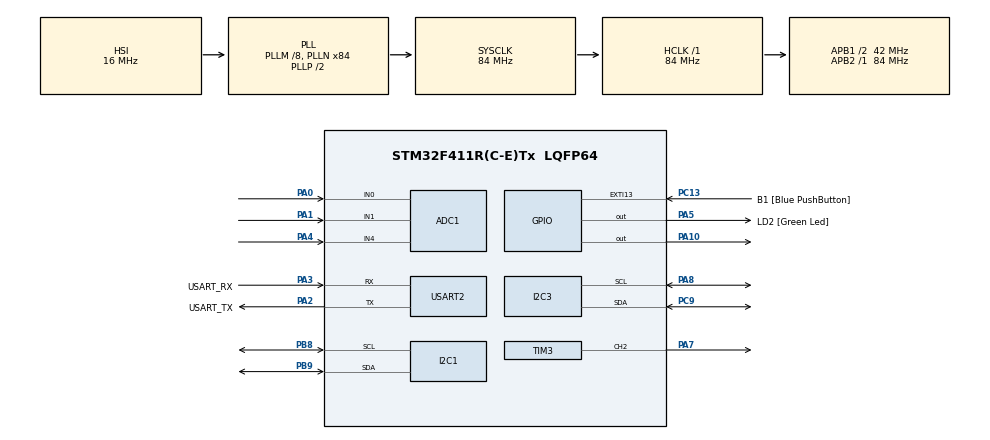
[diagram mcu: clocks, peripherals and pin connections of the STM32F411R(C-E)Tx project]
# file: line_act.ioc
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ADC1.Channel-1\#ChannelRegularConversion=ADC_CHANNEL_0
ADC1.Channel-2\#ChannelRegularConversion=ADC_CHANNEL_1
ADC1.Channel-3\#ChannelRegularConversion=ADC_CHANNEL_4
ADC1.ContinuousConvMode=ENABLE
ADC1.NbrOfConversion=3
ADC1.NbrOfConversionFlag=1
ADC1.Rank-1\#ChannelRegularConversion=1
ADC1.Rank-2\#ChannelRegularConversion=2
ADC1.Rank-3\#ChannelRegularConversion=3
ADC1.SamplingTime-1\#ChannelRegularConversion=ADC_SAMPLETIME_28CYCLES
ADC1.SamplingTime-2\#ChannelRegularConversion=ADC_SAMPLETIME_28CYCLES
ADC1.SamplingTime-3\#ChannelRegularConversion=ADC_SAMPLETIME_28CYCLES
ADC1.ScanConvMode=ENABLE
ADC1.master=1
I2C3.I2C_Mode=I2C_Fast
Mcu.Family=STM32F4
Mcu.Name=STM32F411R(C-E)Tx
Mcu.Package=LQFP64
NVIC.PriorityGroup=NVIC_PRIORITYGROUP_0
PA0-WKUP.Signal=ADCx_IN0
PA1.Signal=ADCx_IN1
PA10.Signal=GPIO_Output
PA13.GPIO_Label=TMS
PA13.Mode=Serial_Wire
PA13.Signal=SYS_JTMS-SWDIO
PA14.GPIO_Label=TCK
PA14.Mode=Serial_Wire
PA14.Signal=SYS_JTCK-SWCLK
PA2.GPIO_Label=USART_TX
PA2.Mode=Asynchronous
PA2.Signal=USART2_TX
PA3.GPIO_Label=USART_RX
PA3.Mode=Asynchronous
PA3.Signal=USART2_RX
PA4.Signal=ADCx_IN4
PA5.GPIO_Label=LD2 [Green Led]
PA5.Signal=GPIO_Output
PA7.Signal=S_TIM3_CH2
PA8.Mode=I2C
PA8.Signal=I2C3_SCL
PB3.GPIO_Label=SWO
PB3.Signal=SYS_JTDO-SWO
PB8.Mode=I2C
PB8.Signal=I2C1_SCL
PB9.Mode=I2C
PB9.Signal=I2C1_SDA
PC13-ANTI_TAMP.GPIO_Label=B1 [Blue PushButton]
PC13-ANTI_TAMP.GPIO_ModeDefaultEXTI=GPIO_MODE_IT_FALLING
PC13-ANTI_TAMP.Signal=GPXTI13
PC14-OSC32_IN.Mode=LSE-External-Oscillator
PC14-OSC32_IN.Signal=RCC_OSC32_IN
PC15-OSC32_OUT.Mode=LSE-External-Oscillator
PC15-OSC32_OUT.Signal=RCC_OSC32_OUT
PC9.Mode=I2C
PC9.Signal=I2C3_SDA
PH0\ -\ OSC_IN.Mode=HSE-External-Clock-Source
PH0\ -\ OSC_IN.Signal=RCC_OSC_IN
PH1\ -\ OSC_OUT.Mode=HSE-External-Clock-Source
PH1\ -\ OSC_OUT.Signal=RCC_OSC_OUT
ProjectManager.HeapSize=0x200
ProjectManager.StackSize=0x400
ProjectManager.TargetToolchain=STM32CubeIDE
RCC.48MHZClocksFreq_Value=42000000
RCC.AHBFreq_Value=84000000
RCC.APB1CLKDivider=RCC_HCLK_DIV2
RCC.APB1Freq_Value=42000000
RCC.APB1TimFreq_Value=84000000
RCC.APB2Freq_Value=84000000
RCC.APB2TimFreq_Value=84000000
RCC.CortexFreq_Value=84000000
RCC.FLatency-AdvancedSettings=FLASH_LATENCY_2
RCC.HCLKFreq_Value=84000000
RCC.HSE_VALUE=8000000
RCC.HSI_VALUE=16000000
RCC.PLLM=8
RCC.PLLN=84
RCC.SYSCLKFreq_VALUE=84000000
RCC.SYSCLKSource=RCC_SYSCLKSOURCE_PLLCLK
RCC.VCOOutputFreq_Value=168000000
SH.ADCx_IN0.0=ADC1_IN0,IN0
SH.ADCx_IN1.0=ADC1_IN1,IN1
SH.ADCx_IN4.0=ADC1_IN4,IN4
SH.S_TIM3_CH2.0=TIM3_CH2,PWM Generation2 CH2
TIM3.Channel-PWM\ Generation2\ CH2=TIM_CHANNEL_2
TIM3.Period=9333-1
TIM3.Prescaler=180-1
USART2.VirtualMode=VM_ASYNC
VP_TIM3_VS_ClockSourceINT.Mode=Internal
board=NUCLEO-F411RE

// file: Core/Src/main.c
/* USER CODE BEGIN Header */
/**
  ******************************************************************************
  * @file           : main.c
  * @brief          : Main program body
  ******************************************************************************
  * @attention
  *
  * Copyright (c) 2024 STMicroelectronics.
  * All rights reserved.
  *
  * This software is licensed under terms that can be found in the LICENSE file
  * in the root directory of this software component.
  * If no LICENSE file comes with this software, it is provided AS-IS.
  *
  ******************************************************************************
  */
/* USER CODE END Header */
#include "main.h"

/* USER CODE BEGIN Includes */
#include <stdlib.h>
#include <stdio.h>

#include "bno055.h"
#include "bno_config.h"

#include "fonts.h"
#include "ssd1306.h"

#include "push_pull.h"

/* USER CODE END Includes */

ADC_HandleTypeDef hadc1;

I2C_HandleTypeDef hi2c1;
I2C_HandleTypeDef hi2c3;

TIM_HandleTypeDef htim3;

UART_HandleTypeDef huart2;

/* USER CODE BEGIN PV */

bno055_t bno;
error_bno err;

float heading, heading_error;
float heading_prev_error = 0;
uint32_t new_yaw;
float heading_setpoint = 180;

float heading_difference;

float PID_p, PID_i, PID_d, PID_total;

float kp, ki, kd;

float pot_one, pot_two, pot_three;

uint32_t period = 50;

/* USER CODE END PV */

void SystemClock_Config(void);
static void MX_GPIO_Init(void);
static void MX_USART2_UART_Init(void);
static void MX_ADC1_Init(void);
static void MX_I2C1_Init(void);
static void MX_TIM3_Init(void);
static void MX_I2C3_Init(void);

/* USER CODE BEGIN 0 */

void ADC_Select_CH0 (void)
{
	ADC_ChannelConfTypeDef sConfig = {0};

	  sConfig.Channel = ADC_CHANNEL_0;
	  sConfig.Rank = 1;
	  sConfig.SamplingTime = ADC_SAMPLETIME_28CYCLES;
	  if (HAL_ADC_ConfigChannel(&hadc1, &sConfig) != HAL_OK)
	  {
	    Error_Handler();
	  }
}

void ADC_Select_CH1 (void)
{
	ADC_ChannelConfTypeDef sConfig = {0};

	  sConfig.Channel = ADC_CHANNEL_1;
	  sConfig.Rank = 1;
	  sConfig.SamplingTime = ADC_SAMPLETIME_28CYCLES;
	  if (HAL_ADC_ConfigChannel(&hadc1, &sConfig) != HAL_OK)
	  {
	    Error_Handler();
	  }
}

void ADC_Select_CH4 (void)
{
	ADC_ChannelConfTypeDef sConfig = {0};

	  sConfig.Channel = ADC_CHANNEL_4;
	  sConfig.Rank = 1;
	  sConfig.SamplingTime = ADC_SAMPLETIME_28CYCLES;
	  if (HAL_ADC_ConfigChannel(&hadc1, &sConfig) != HAL_OK)
	  {
		Error_Handler();
	  }
}

float remap_val(float value, float in_min, float in_max, float out_min, float out_max)
{
	return (value - in_min) * (out_max - out_min) / (in_max - in_min) + out_min;
}

/* USER CODE END 0 */

int main(void)
{

  /* MCU Configuration--------------------------------------------------------*/

  /* Reset of all peripherals, Initializes the Flash interface and the Systick. */
  HAL_Init();

  /* Configure the system clock */
  SystemClock_Config();

  /* Initialize all configured peripherals */
  MX_GPIO_Init();
  MX_USART2_UART_Init();
  MX_ADC1_Init();
  MX_I2C1_Init();
  MX_TIM3_Init();
  MX_I2C3_Init();
  /* USER CODE BEGIN 2 */

  HAL_TIM_PWM_Start(&htim3, TIM_CHANNEL_2);

  bno = (bno055_t)
  {
	.i2c = &hi2c1, .addr = BNO_ADDR, .mode = BNO_MODE_IMU, ._temp_unit = 0,
	// .ptr = &bno,
  };
  HAL_Delay(1000);

  if ((err = bno055_init(&bno)) == BNO_OK)
  {
  	  printf("[+] BNO055 init success\r\n");
	  HAL_Delay(100);
  }
  else
  {
	  printf("[!] BNO055 init failed\r\n");
	  printf("%s\n", bno055_err_str(err));
	  Error_Handler();
  }
	  HAL_Delay(100);
	  err = bno055_set_unit(&bno, BNO_TEMP_UNIT_C, BNO_GYR_UNIT_DPS, BNO_ACC_UNITSEL_M_S2, BNO_EUL_UNIT_DEG);
  if (err != BNO_OK)
  {
	  printf("[BNO] Failed to set units. Err: %d\r\n", err);
  }
  else
  {
	  printf("[BNO] Unit selection success\r\n");
  }

  HAL_Delay(1000);
  bno055_euler_t eul = {0, 0, 0};

  //________________________________________________________________________________________oled code____________________

  //SSD1306_Init();

//  SSD1306_GotoXY (0,0);
//  SSD1306_Puts ("K_p:  K_i:  K_d: Y:", &Font_7x10, 1);
//  SSD1306_GotoXY (0, 30);
//  SSD1306_Puts ("BY NIZAR", &Font_11x18, 1);
//  SSD1306_UpdateScreen();
//  HAL_Delay (1000);
//  SSD1306_ScrollRight(0,7);
//  HAL_Delay(3000);
//  SSD1306_ScrollLeft(0,7);
//  HAL_Delay(3000);
//  SSD1306_Stopscroll();
//  SSD1306_Clear();
//
////  int num=2024;
//  char snum[5];
//  SSD1306_GotoXY (30,20);
//  itoa(heading_setpoint, snum, 10);
//  SSD1306_Puts (snum, &Font_16x26, 1);
//  SSD1306_UpdateScreen();
//
//  //SSD1306_DrawLine(POINT1 X, POINT1 Y, POINT2 X, POINT2 Y, 1);
//  SSD1306_DrawLine(1,54,126,54,1);
//  SSD1306_UpdateScreen();
//  HAL_Delay (5000);
//  SSD1306_Clear();
//
//  // For Rectangle, we need to use two corner points
//  // SSD1306_DrawRectangle(POINT1 X, POINT1 Y, POINT2 X, POINT2 Y, 1);
//  SSD1306_DrawRectangle(17,1,115,14,1);
//  // SSD1306_DrawTriangle(POINT1X, POINT1Y, POINT2X, POINT2Y, POINT3X, POINT3Y, 1);
//  SSD1306_DrawTriangle(73,22,124,62,74,54,1);
//  // SSD1306_DrawCircle(CENTER POINT X, CENTER POINT Y, RADIUS, 1);
//  SSD1306_DrawCircle(34,50,13,1);
//  SSD1306_UpdateScreen();

  //___________________________________________________________________________________________________________________________

  /* USER CODE END 2 */

  /* Infinite loop */
  while (1)
  {

    /* USER CODE BEGIN 3 */

	  bno.euler(&bno, &eul);
	  new_yaw = (int)eul.yaw;
	  new_yaw = (new_yaw + 180) % 360;

	  ADC_Select_CH0();
	  HAL_ADC_Start(&hadc1);
	  HAL_ADC_PollForConversion(&hadc1, 1000);
	  pot_one = HAL_ADC_GetValue(&hadc1);
	  kp = pot_one / 200;
	  HAL_ADC_Stop(&hadc1);

	  ADC_Select_CH1();
	  HAL_ADC_Start(&hadc1);
	  HAL_ADC_PollForConversion(&hadc1, 1000);
	  pot_two = HAL_ADC_GetValue(&hadc1);
	  ki = pot_two / 800;
	  HAL_ADC_Stop(&hadc1);

	  ADC_Select_CH4();
	  HAL_ADC_Start(&hadc1);
	  HAL_ADC_PollForConversion(&hadc1, 1000);
	  pot_three = HAL_ADC_GetValue(&hadc1);
	  kd = pot_three;
	  HAL_ADC_Stop(&hadc1);

	  heading = new_yaw;
	  heading_error = heading_setpoint - heading;
	  PID_p = kp *heading_error;

	  heading_difference = heading_error - heading_prev_error;
	  PID_d = kd*((heading_error - heading_prev_error)/period);

	  if(heading_error > -3 && heading_error < 3)
	  {
		  PID_i = PID_i + (ki * heading_error);
	  }
	  else
	  {
		  PID_i = 0;
	  }

	  PID_total = PID_p + PID_i + PID_d;

	  PID_total = remap_val(PID_total, -3000, 3000, 250, 1250);

	  if(PID_total < 138)
	  {
		  PID_total = 138;
	  }
	  if(PID_total > 1111)
	  {
		  PID_total = 1111;
	  }

	  printf("K_p: %3.0f K_i: %2.2f  K_d: %4.0f New_Yaw: %ld PID_tot: %4.2f\r\n", kp, ki, kd, new_yaw, PID_total);
	  fflush(stdout);

//	  SSD1306_GotoXY (0,0);
//	  SSD1306_Puts ("PID Controller", &Font_7x10, 1);
//
//	  SSD1306_GotoXY (0,16);
//	  SSD1306_Puts ("P: ", &Font_7x10, 1);
//	  char char_buff[1000];
//	  sprintf(char_buff, "%3.0f", kp);
//	  SSD1306_GotoXY (35,16);
//	  SSD1306_Puts (char_buff, &Font_7x10, 1);
//	  SSD1306_UpdateScreen();
//
//	  SSD1306_GotoXY (0,27);
//	  SSD1306_Puts ("I: ", &Font_7x10, 1);
//	  sprintf(char_buff, "%2.2f", ki);
//	  SSD1306_GotoXY (35,27);
//	  SSD1306_Puts (char_buff, &Font_7x10, 1);
//	  SSD1306_UpdateScreen();
//
//	  SSD1306_GotoXY (0,38);
//	  SSD1306_Puts ("D: ", &Font_7x10, 1);
//	  sprintf(char_buff, "%4.0f", kd);
//	  SSD1306_GotoXY (35,38);
//	  SSD1306_Puts (char_buff, &Font_7x10, 1);
//	  SSD1306_UpdateScreen();
//
//	  SSD1306_GotoXY (0,49);
//	  SSD1306_Puts ("Yaw: ", &Font_7x10, 1);
//	  sprintf(char_buff, "%ld", new_yaw);
//	  SSD1306_GotoXY (35,49);
//	  SSD1306_Puts (char_buff, &Font_7x10, 1);
//	  SSD1306_UpdateScreen();

	  __HAL_TIM_SET_COMPARE(&htim3,TIM_CHANNEL_2, PID_total);

	  HAL_Delay(2);

  }
  /* USER CODE END 3 */
}

void SystemClock_Config(void)
{
  RCC_OscInitTypeDef RCC_OscInitStruct = {0};
  RCC_ClkInitTypeDef RCC_ClkInitStruct = {0};

  /** Configure the main internal regulator output voltage
  */
  __HAL_RCC_PWR_CLK_ENABLE();
  __HAL_PWR_VOLTAGESCALING_CONFIG(PWR_REGULATOR_VOLTAGE_SCALE1);

  /** Initializes the RCC Oscillators according to the specified parameters
  * in the RCC_OscInitTypeDef structure.
  */
  RCC_OscInitStruct.OscillatorType = RCC_OSCILLATORTYPE_HSI;
  RCC_OscInitStruct.HSIState = RCC_HSI_ON;
  RCC_OscInitStruct.HSICalibrationValue = RCC_HSICALIBRATION_DEFAULT;
  RCC_OscInitStruct.PLL.PLLState = RCC_PLL_ON;
  RCC_OscInitStruct.PLL.PLLSource = RCC_PLLSOURCE_HSI;
  RCC_OscInitStruct.PLL.PLLM = 8;
  RCC_OscInitStruct.PLL.PLLN = 84;
  RCC_OscInitStruct.PLL.PLLP = RCC_PLLP_DIV2;
  RCC_OscInitStruct.PLL.PLLQ = 4;
  if (HAL_RCC_OscConfig(&RCC_OscInitStruct) != HAL_OK)
  {
    Error_Handler();
  }

  /** Initializes the CPU, AHB and APB buses clocks
  */
  RCC_ClkInitStruct.ClockType = RCC_CLOCKTYPE_HCLK|RCC_CLOCKTYPE_SYSCLK
                              |RCC_CLOCKTYPE_PCLK1|RCC_CLOCKTYPE_PCLK2;
  RCC_ClkInitStruct.SYSCLKSource = RCC_SYSCLKSOURCE_PLLCLK;
  RCC_ClkInitStruct.AHBCLKDivider = RCC_SYSCLK_DIV1;
  RCC_ClkInitStruct.APB1CLKDivider = RCC_HCLK_DIV2;
  RCC_ClkInitStruct.APB2CLKDivider = RCC_HCLK_DIV1;

  if (HAL_RCC_ClockConfig(&RCC_ClkInitStruct, FLASH_LATENCY_2) != HAL_OK)
  {
    Error_Handler();
  }
}

static void MX_ADC1_Init(void)
{

  //ADC_ChannelConfTypeDef sConfig = {0};

  /** Configure the global features of the ADC (Clock, Resolution, Data Alignment and number of conversion)
  */
  hadc1.Instance = ADC1;
  hadc1.Init.ClockPrescaler = ADC_CLOCK_SYNC_PCLK_DIV4;
  hadc1.Init.Resolution = ADC_RESOLUTION_12B;
  hadc1.Init.ScanConvMode = ENABLE;
  hadc1.Init.ContinuousConvMode = ENABLE;
  hadc1.Init.DiscontinuousConvMode = DISABLE;
  hadc1.Init.ExternalTrigConvEdge = ADC_EXTERNALTRIGCONVEDGE_NONE;
  hadc1.Init.ExternalTrigConv = ADC_SOFTWARE_START;
  hadc1.Init.DataAlign = ADC_DATAALIGN_RIGHT;
  hadc1.Init.NbrOfConversion = 3;
  hadc1.Init.DMAContinuousRequests = DISABLE;
  hadc1.Init.EOCSelection = ADC_EOC_SINGLE_CONV;
  if (HAL_ADC_Init(&hadc1) != HAL_OK)
  {
    Error_Handler();
  }

  /** Configure for the selected ADC regular channel its corresponding rank in the sequencer and its sample time.
  */
//  sConfig.Channel = ADC_CHANNEL_0;
//  sConfig.Rank = 1;
//  sConfig.SamplingTime = ADC_SAMPLETIME_28CYCLES;
//  if (HAL_ADC_ConfigChannel(&hadc1, &sConfig) != HAL_OK)
//  {
//    Error_Handler();
//  }
//
//  /** Configure for the selected ADC regular channel its corresponding rank in the sequencer and its sample time.
//  */
//  sConfig.Channel = ADC_CHANNEL_1;
//  sConfig.Rank = 2;
//  if (HAL_ADC_ConfigChannel(&hadc1, &sConfig) != HAL_OK)
//  {
//    Error_Handler();
//  }
//
//  /** Configure for the selected ADC regular channel its corresponding rank in the sequencer and its sample time.
//  */
//  sConfig.Channel = ADC_CHANNEL_4;
//  sConfig.Rank = 3;
//  if (HAL_ADC_ConfigChannel(&hadc1, &sConfig) != HAL_OK)
//  {
//    Error_Handler();
//  }

}

static void MX_I2C1_Init(void)
{

  hi2c1.Instance = I2C1;
  hi2c1.Init.ClockSpeed = 100000;
  hi2c1.Init.DutyCycle = I2C_DUTYCYCLE_2;
  hi2c1.Init.OwnAddress1 = 0;
  hi2c1.Init.AddressingMode = I2C_ADDRESSINGMODE_7BIT;
  hi2c1.Init.DualAddressMode = I2C_DUALADDRESS_DISABLE;
  hi2c1.Init.OwnAddress2 = 0;
  hi2c1.Init.GeneralCallMode = I2C_GENERALCALL_DISABLE;
  hi2c1.Init.NoStretchMode = I2C_NOSTRETCH_DISABLE;
  if (HAL_I2C_Init(&hi2c1) != HAL_OK)
  {
    Error_Handler();
  }

}

static void MX_I2C3_Init(void)
{

  hi2c3.Instance = I2C3;
  hi2c3.Init.ClockSpeed = 400000;
  hi2c3.Init.DutyCycle = I2C_DUTYCYCLE_2;
  hi2c3.Init.OwnAddress1 = 0;
  hi2c3.Init.AddressingMode = I2C_ADDRESSINGMODE_7BIT;
  hi2c3.Init.DualAddressMode = I2C_DUALADDRESS_DISABLE;
  hi2c3.Init.OwnAddress2 = 0;
  hi2c3.Init.GeneralCallMode = I2C_GENERALCALL_DISABLE;
  hi2c3.Init.NoStretchMode = I2C_NOSTRETCH_DISABLE;
  if (HAL_I2C_Init(&hi2c3) != HAL_OK)
  {
    Error_Handler();
  }

}

static void MX_TIM3_Init(void)
{

  TIM_ClockConfigTypeDef sClockSourceConfig = {0};
  TIM_MasterConfigTypeDef sMasterConfig = {0};
  TIM_OC_InitTypeDef sConfigOC = {0};

  htim3.Instance = TIM3;
  htim3.Init.Prescaler = 180-1;
  htim3.Init.CounterMode = TIM_COUNTERMODE_UP;
  htim3.Init.Period = 9333-1;
  htim3.Init.ClockDivision = TIM_CLOCKDIVISION_DIV1;
  htim3.Init.AutoReloadPreload = TIM_AUTORELOAD_PRELOAD_DISABLE;
  if (HAL_TIM_Base_Init(&htim3) != HAL_OK)
  {
    Error_Handler();
  }
  sClockSourceConfig.ClockSource = TIM_CLOCKSOURCE_INTERNAL;
  if (HAL_TIM_ConfigClockSource(&htim3, &sClockSourceConfig) != HAL_OK)
  {
    Error_Handler();
  }
  if (HAL_TIM_PWM_Init(&htim3) != HAL_OK)
  {
    Error_Handler();
  }
  sMasterConfig.MasterOutputTrigger = TIM_TRGO_RESET;
  sMasterConfig.MasterSlaveMode = TIM_MASTERSLAVEMODE_DISABLE;
  if (HAL_TIMEx_MasterConfigSynchronization(&htim3, &sMasterConfig) != HAL_OK)
  {
    Error_Handler();
  }
  sConfigOC.OCMode = TIM_OCMODE_PWM1;
  sConfigOC.Pulse = 0;
  sConfigOC.OCPolarity = TIM_OCPOLARITY_HIGH;
  sConfigOC.OCFastMode = TIM_OCFAST_DISABLE;
  if (HAL_TIM_PWM_ConfigChannel(&htim3, &sConfigOC, TIM_CHANNEL_2) != HAL_OK)
  {
    Error_Handler();
  }
  HAL_TIM_MspPostInit(&htim3);

}

static void MX_USART2_UART_Init(void)
{

  huart2.Instance = USART2;
  huart2.Init.BaudRate = 115200;
  huart2.Init.WordLength = UART_WORDLENGTH_8B;
  huart2.Init.StopBits = UART_STOPBITS_1;
  huart2.Init.Parity = UART_PARITY_NONE;
  huart2.Init.Mode = UART_MODE_TX_RX;
  huart2.Init.HwFlowCtl = UART_HWCONTROL_NONE;
  huart2.Init.OverSampling = UART_OVERSAMPLING_16;
  if (HAL_UART_Init(&huart2) != HAL_OK)
  {
    Error_Handler();
  }

}

static void MX_GPIO_Init(void)
{
  GPIO_InitTypeDef GPIO_InitStruct = {0};

  /* GPIO Ports Clock Enable */
  __HAL_RCC_GPIOC_CLK_ENABLE();
  __HAL_RCC_GPIOH_CLK_ENABLE();
  __HAL_RCC_GPIOA_CLK_ENABLE();
  __HAL_RCC_GPIOB_CLK_ENABLE();

  /*Configure GPIO pin Output Level */
  HAL_GPIO_WritePin(GPIOA, LD2_Pin|GPIO_PIN_10, GPIO_PIN_RESET);

  /*Configure GPIO pin : B1_Pin */
  GPIO_InitStruct.Pin = B1_Pin;
  GPIO_InitStruct.Mode = GPIO_MODE_IT_FALLING;
  GPIO_InitStruct.Pull = GPIO_NOPULL;
  HAL_GPIO_Init(B1_GPIO_Port, &GPIO_InitStruct);

  /*Configure GPIO pins : LD2_Pin PA10 */
  GPIO_InitStruct.Pin = LD2_Pin|GPIO_PIN_10;
  GPIO_InitStruct.Mode = GPIO_MODE_OUTPUT_PP;
  GPIO_InitStruct.Pull = GPIO_NOPULL;
  GPIO_InitStruct.Speed = GPIO_SPEED_FREQ_LOW;
  HAL_GPIO_Init(GPIOA, &GPIO_InitStruct);

}

/* USER CODE BEGIN 4 */
int _write(int file, char *ptr, int len)
{
  (void)file;
  int DataIdx;

  for (DataIdx = 0; DataIdx < len; DataIdx++)
  {
	  ITM_SendChar(*ptr++);
  }
  return len;
}

/* USER CODE END 4 */

void Error_Handler(void)
{
  __disable_irq();
  while (1)
  {
  }
}
